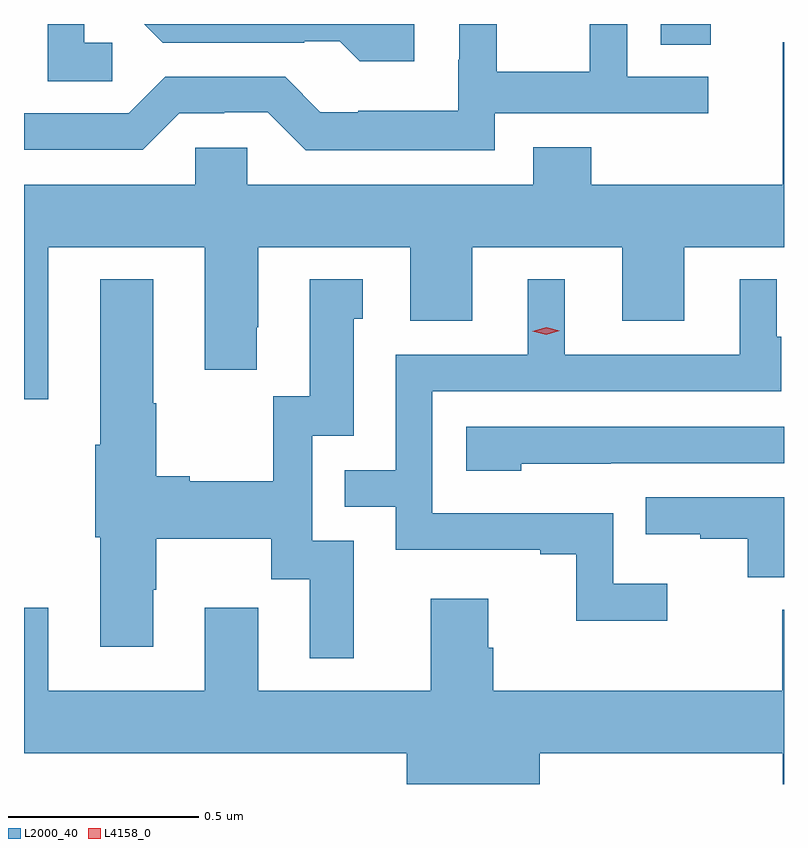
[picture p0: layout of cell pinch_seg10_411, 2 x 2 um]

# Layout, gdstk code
import gdstk
lib = gdstk.Library(unit=1e-6, precision=1e-09)
def R(c, l, rs):  # rectangles x0, y0, x1, y1
    for r in rs: c.add(gdstk.rectangle(r[:2], r[2:], *l))
def P(c, l, *ps):  # polygons
    for p in ps: c.add(gdstk.Polygon(p, *l))
L2000_40 = (2000, 40)
L4158_0 = (4158, 0)

pinch_seg10_411 = lib.new_cell('pinch_seg10_411')
R(pinch_seg10_411, L2000_40, [(620.231,1274.209,620.362,1274.263)])
P(pinch_seg10_411, L2000_40, [(618.787,1274.214),(618.714,1274.214),(618.714,1274.263),(618.618,1274.263),(618.618,1274.113),(618.787,1274.113)],
  [(619.794,1274.028),(620.356,1274.028),(620.356,1274.124),(620.142,1274.124),(620.142,1274.263),(620.044,1274.263),(620.044,1274.137),(619.799,1274.137),(619.799,1274.263),(619.7,1274.263),(619.7,1274.169),(619.698,1274.169),(619.698,1274.035),(619.435,1274.035),(619.435,1274.031),(619.335,1274.031),(619.242,1274.124),(618.927,1274.124),(618.831,1274.028),(618.555,1274.028),(618.555,1273.932),(618.867,1273.932),(618.963,1274.028),(619.082,1274.028),(619.082,1274.031),(619.197,1274.031),(619.297,1273.931),(619.794,1273.931)],
  [(619.582,1274.262),(619.5,1274.262),(619.499,1274.263),(618.871,1274.263),(618.92,1274.214),(619.292,1274.214),(619.292,1274.217),(619.386,1274.217),(619.438,1274.165),(619.582,1274.165)],
  [(618.619,1273.676),(619.031,1273.676),(619.031,1273.353),(619.168,1273.353),(619.168,1273.465),(619.171,1273.465),(619.171,1273.676),(619.571,1273.676),(619.571,1273.482),(619.735,1273.482),(619.735,1273.676),(620.129,1273.676),(620.129,1273.482),(620.293,1273.482),(620.293,1273.676),(620.555,1273.676),(620.555,1274.215),(620.552,1274.215),(620.552,1273.84),(620.048,1273.84),(620.048,1273.939),(619.895,1273.939),(619.895,1273.84),(619.143,1273.84),(619.143,1273.938),(619.005,1273.938),(619.005,1273.84),(618.555,1273.84),(618.555,1273.275),(618.619,1273.275)],
  [(619.423,1272.903),(619.314,1272.903),(619.314,1273.179),(619.423,1273.179),(619.423,1273.488),(619.447,1273.488),(619.447,1273.591),(619.307,1273.591),(619.307,1273.284),(619.211,1273.284),(619.211,1273.06),(618.991,1273.06),(618.991,1273.073),(618.903,1273.073),(618.903,1273.265),(618.895,1273.265),(618.895,1273.591),(618.755,1273.591),(618.755,1273.156),(618.743,1273.156),(618.743,1272.912),(618.755,1272.912),(618.755,1272.624),(618.895,1272.624),(618.895,1272.774),(618.903,1272.774),(618.903,1272.908),(619.206,1272.908),(619.206,1272.802),(619.307,1272.802),(619.307,1272.594),(619.423,1272.594)],
  [(620.248,1272.79),(620.106,1272.79),(620.106,1272.975),(619.629,1272.975),(619.629,1273.296),(620.548,1273.296),(620.548,1273.44),(620.536,1273.44),(620.536,1273.591),(620.438,1273.591),(620.438,1273.392),(619.978,1273.392),(619.978,1273.591),(619.88,1273.591),(619.88,1273.392),(619.533,1273.392),(619.533,1273.089),(619.399,1273.089),(619.399,1272.993),(619.533,1272.993),(619.533,1272.879),(619.913,1272.879),(619.913,1272.867),(620.008,1272.867),(620.008,1272.692),(620.248,1272.692)],
  [(619.863,1273.106),(620.099,1273.106),(620.099,1273.107),(620.555,1273.107),(620.555,1273.203),(619.719,1273.203),(619.719,1273.088),(619.863,1273.088)],
  [(620.555,1273.017),(620.191,1273.017),(620.191,1272.92),(620.335,1272.92),(620.335,1272.909),(620.459,1272.909),(620.459,1272.807),(620.555,1272.807)],
  [(619.912,1272.344),(620.552,1272.344),(620.552,1272.263),(620.555,1272.263),(620.555,1272.722),(620.55,1272.722),(620.55,1272.508),(619.79,1272.508),(619.79,1272.621),(619.777,1272.621),(619.777,1272.751),(619.625,1272.751),(619.625,1272.508),(619.171,1272.508),(619.171,1272.727),(619.031,1272.727),(619.031,1272.508),(618.619,1272.508),(618.619,1272.727),(618.555,1272.727),(618.555,1272.344),(619.562,1272.344),(619.562,1272.263),(619.912,1272.263)])
P(pinch_seg10_411, L4158_0, [(619.929,1273.445),(619.893,1273.454),(619.893,1273.454),(619.893,1273.454),(619.929,1273.465),(619.965,1273.456),(619.965,1273.456),(619.965,1273.456)])

lib.write_gds('pinch_seg10_411.gds')
